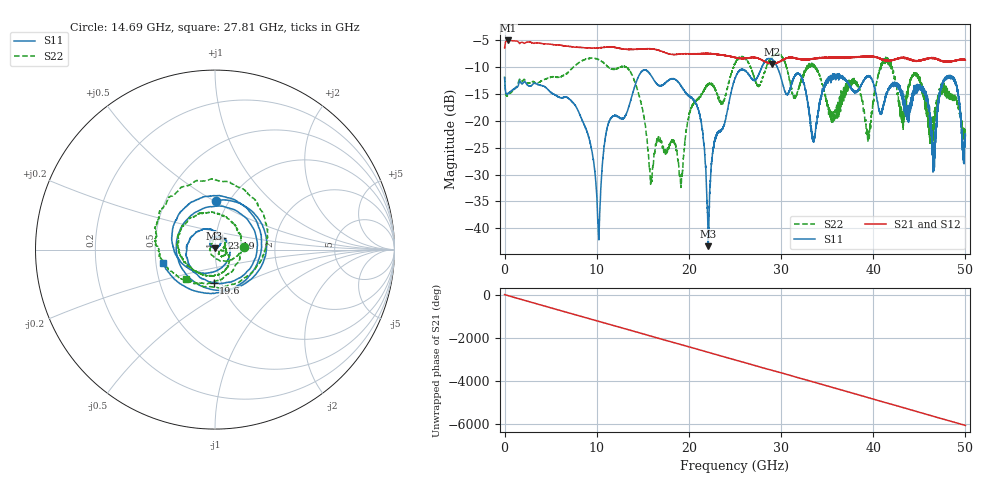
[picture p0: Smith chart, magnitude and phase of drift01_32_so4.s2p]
!Created with skrf (http://scikit-rf.org).
# Hz S RI R 50.0
!freq ReS11 ImS11 ReS21 ImS21 ReS12 ImS12 ReS22 ImS22
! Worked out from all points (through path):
!   10001 points, 300 kHz to 50 GHz, reference 50 ohm
!   highest |S21| = -5.06 dB at 410.3 MHz (marker M1); lowest = -9.4 dB at 28.98 GHz (marker M2)
!   group delay of S21, straight-line fit = 336 ps
!   lowest |S11| = -43.3 dB at 22.11 GHz (marker M3), VSWR 1.01, Z = 49.7 + j0.63 ohm
!   |S11| at or under -10 dB: start of sweep to 27.92 GHz; 29.59 GHz to end of sweep
!   |S22| runs from -32.4 to -7.5 dB; largest |S21 - S12| = 0.014
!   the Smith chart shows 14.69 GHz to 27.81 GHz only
!   S11 on the Smith chart (normalised r, x): 14.69 GHz: 0.87, +0.51; 19.6 GHz: 0.92, -0.35; 23.19 GHz: 1.07, +0.14; 27.81 GHz: 0.54, -0.09
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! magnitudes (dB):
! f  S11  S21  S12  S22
! 300 kHz  -11.9  -6.5  -6.5  -11.8
! 410.3 MHz  -14.8  -5.1  -5.1  -15.1
! 8.335 GHz  -19.5  -6.4  -6.4  -8.9
! 10.21 GHz  -41.6  -6.4  -6.4  -8.6
! 11.24 GHz  -20.6  -6.3  -6.3  -10.0
! 14.69 GHz  -11.3  -6.7  -6.7  -15.9
! 15.88 GHz  -11.5  -6.6  -6.6  -31.0
! 16.67 GHz  -13.4  -6.9  -6.9  -23.2
! 19.6 GHz  -14.7  -7.5  -7.5  -23.4
! 21.2 GHz  -19.0  -7.5  -7.5  -15.6
! 22.11 GHz  -43.3  -7.5  -7.5  -13.2
! 23.19 GHz  -22.2  -7.7  -7.7  -15.9
! 25 GHz  -12.1  -8.2  -8.3  -9.5
! 27.81 GHz  -10.4  -8.6  -8.6  -12.8
! 28.98 GHz  -8.5  -9.4  -9.4  -8.2
! 33.34 GHz  -22.9  -8.5  -8.5  -9.6
! 39.47 GHz  -11.7  -8.0  -8.0  -22.5
! 41.67 GHz  -13.9  -8.8  -8.7  -8.8
! 45.47 GHz  -14.2  -8.5  -8.6  -16.0
! 46.55 GHz  -26.9  -8.2  -8.3  -20.8
! 48.53 GHz  -11.9  -9.0  -8.9  -15.5
! 50 GHz  -22.8  -8.7  -8.6  -23.1
